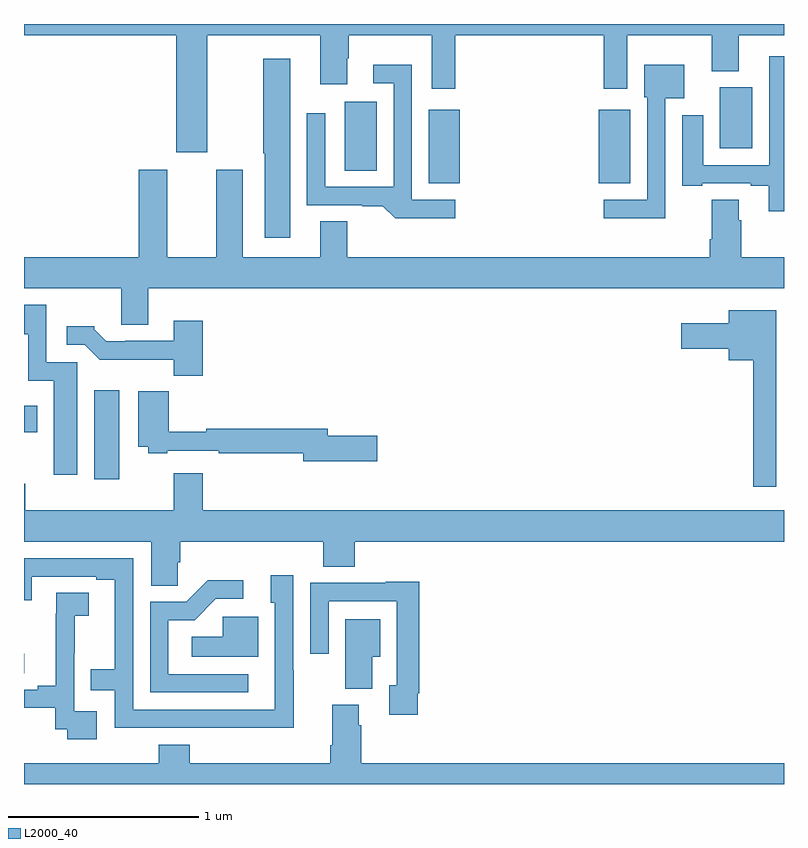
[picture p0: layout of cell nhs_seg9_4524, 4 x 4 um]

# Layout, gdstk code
import gdstk
lib = gdstk.Library(unit=1e-6, precision=1e-09)
def R(c, l, rs):  # rectangles x0, y0, x1, y1
    for r in rs: c.add(gdstk.rectangle(r[:2], r[2:], *l))
def P(c, l, *ps):  # polygons
    for p in ps: c.add(gdstk.Polygon(p, *l))
L2000_40 = (2000, 40)

nhs_seg9_4524 = lib.new_cell('nhs_seg9_4524')
R(nhs_seg9_4524, L2000_40, [(371,1173.082,371.002,1173.186), (371.369,1174.104,371.5,1174.573), (371,1174.352,371.071,1174.492), (373.13,1175.663,373.294,1176.049), (374.024,1175.663,374.191,1176.049), (372.689,1175.728,372.856,1176.091), (374.663,1175.846,374.833,1176.166)])
P(nhs_seg9_4524, L2000_40, [(371.965,1176.44),(372.56,1176.44),(372.56,1176.183),(372.7,1176.183),(372.7,1176.32),(372.708,1176.32),(372.708,1176.44),(373.145,1176.44),(373.145,1176.159),(373.271,1176.159),(373.271,1176.44),(374.051,1176.44),(374.051,1176.159),(374.176,1176.159),(374.176,1176.44),(374.621,1176.44),(374.621,1176.251),(374.761,1176.251),(374.761,1176.44),(375,1176.44),(375,1176.5),(371,1176.5),(371,1176.44),(371.801,1176.44),(371.801,1175.826),(371.965,1175.826)],
  [(375,1176.331),(374.922,1176.331),(374.922,1175.757),(374.575,1175.757),(374.575,1176.019),(374.465,1176.019),(374.465,1175.649),(374.569,1175.649),(374.569,1175.661),(374.825,1175.661),(374.825,1175.649),(374.921,1175.649),(374.921,1175.514),(375,1175.514)],
  [(372.4,1176.316),(372.259,1176.316),(372.259,1175.821),(372.266,1175.821),(372.266,1175.376),(372.4,1175.376)],
  [(374.376,1176.11),(374.476,1176.11),(374.476,1176.286),(374.264,1176.286),(374.264,1176.114),(374.28,1176.114),(374.28,1175.574),(374.052,1175.574),(374.052,1175.477),(374.376,1175.477)],
  [(373.27,1175.574),(373.041,1175.574),(373.041,1176.286),(372.837,1176.286),(372.837,1176.189),(372.945,1176.189),(372.945,1175.643),(372.585,1175.643),(372.585,1176.031),(372.489,1176.031),(372.489,1175.547),(372.779,1175.547),(372.779,1175.542),(372.887,1175.542),(372.953,1175.477),(373.27,1175.477)],
  [(371.653,1175.108),(375,1175.108),(375,1175.272),(374.774,1175.272),(374.774,1175.468),(374.761,1175.468),(374.761,1175.576),(374.621,1175.576),(374.621,1175.368),(374.609,1175.368),(374.609,1175.272),(372.7,1175.272),(372.7,1175.462),(372.56,1175.462),(372.56,1175.272),(372.151,1175.272),(372.151,1175.734),(372.011,1175.734),(372.011,1175.272),(371.755,1175.272),(371.755,1175.734),(371.603,1175.734),(371.603,1175.272),(371,1175.272),(371,1175.108),(371.513,1175.108),(371.513,1174.918),(371.653,1174.918)],
  [(371.281,1174.719),(371.118,1174.719),(371.118,1175.023),(371,1175.023),(371,1174.867),(371.022,1174.867),(371.022,1174.622),(371.156,1174.622),(371.156,1174.128),(371.281,1174.128)],
  [(374.959,1174.993),(374.708,1174.993),(374.708,1174.924),(374.46,1174.924),(374.46,1174.79),(374.708,1174.79),(374.708,1174.73),(374.838,1174.73),(374.838,1174.065),(374.959,1174.065)],
  [(371.942,1174.939),(371.789,1174.939),(371.789,1174.833),(371.533,1174.833),(371.533,1174.83),(371.434,1174.83),(371.37,1174.894),(371.37,1174.909),(371.226,1174.909),(371.226,1174.812),(371.319,1174.812),(371.398,1174.734),(371.787,1174.734),(371.787,1174.649),(371.942,1174.649)],
  [(372.859,1174.334),(372.598,1174.334),(372.598,1174.37),(371.96,1174.37),(371.96,1174.355),(371.762,1174.355),(371.762,1174.567),(371.6,1174.567),(371.6,1174.274),(371.655,1174.274),(371.655,1174.242),(371.755,1174.242),(371.755,1174.254),(372.025,1174.254),(372.025,1174.242),(372.47,1174.242),(372.47,1174.199),(372.859,1174.199)],
  [(371.808,1173.667),(371.822,1173.667),(371.822,1173.776),(372.575,1173.776),(372.575,1173.643),(372.74,1173.643),(372.74,1173.776),(375,1173.776),(375,1173.94),(371.942,1173.94),(371.942,1174.135),(371.789,1174.135),(371.789,1173.94),(371.006,1173.94),(371.006,1174.081),(371,1174.081),(371,1173.776),(371.669,1173.776),(371.669,1173.544),(371.808,1173.544)],
  [(372.419,1173.098),(372.417,1173.098),(372.417,1173.598),(372.299,1173.598),(372.299,1173.453),(372.321,1173.453),(372.321,1172.892),(371.574,1172.892),(371.574,1173.687),(371,1173.687),(371,1173.468),(371.04,1173.468),(371.04,1173.591),(371.381,1173.591),(371.381,1173.576),(371.477,1173.576),(371.477,1173.103),(371.35,1173.103),(371.35,1172.994),(371.478,1172.994),(371.478,1172.796),(371.956,1172.796),(371.956,1172.795),(372.419,1172.795)],
  [(372.181,1173.078),(371.76,1173.078),(371.76,1173.363),(371.898,1173.363),(372.009,1173.474),(372.154,1173.474),(372.154,1173.572),(371.966,1173.572),(371.853,1173.459),(371.664,1173.459),(371.664,1172.982),(372.181,1172.982)],
  [(373.072,1172.977),(373.079,1172.977),(373.079,1173.565),(372.903,1173.565),(372.903,1173.558),(372.507,1173.558),(372.507,1173.186),(372.603,1173.186),(372.603,1173.462),(372.963,1173.462),(372.963,1173.021),(372.923,1173.021),(372.923,1172.865),(373.072,1172.865)],
  [(371.383,1172.883),(371.265,1172.883),(371.265,1173.187),(371.267,1173.187),(371.267,1173.385),(371.341,1173.385),(371.341,1173.506),(371.17,1173.506),(371.17,1173.395),(371.168,1173.395),(371.168,1173.017),(371.072,1173.017),(371.072,1172.997),(371,1172.997),(371,1172.901),(371.164,1172.901),(371.164,1172.787),(371.227,1172.787),(371.227,1172.736),(371.383,1172.736)],
  [(372.232,1173.381),(372.045,1173.381),(372.045,1173.274),(371.883,1173.274),(371.883,1173.17),(372.232,1173.17)],
  [(372.832,1173.17),(372.874,1173.17),(372.874,1173.367),(372.692,1173.367),(372.692,1173.001),(372.832,1173.001)],
  [(375,1172.608),(372.776,1172.608),(372.776,1172.81),(372.763,1172.81),(372.763,1172.916),(372.623,1172.916),(372.623,1172.704),(372.611,1172.704),(372.611,1172.608),(371.873,1172.608),(371.873,1172.707),(371.708,1172.707),(371.708,1172.608),(371,1172.608),(371,1172.5),(375,1172.5)])

lib.write_gds('nhs_seg9_4524.gds')
